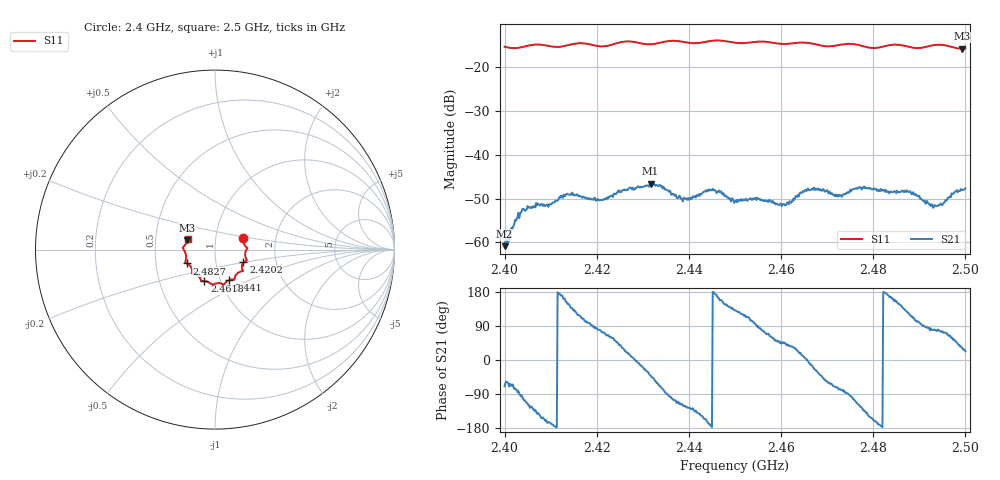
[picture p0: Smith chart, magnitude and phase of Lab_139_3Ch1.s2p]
# Hz S RI R 50
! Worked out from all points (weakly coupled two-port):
!   601 points, 2.4 GHz to 2.5 GHz, reference 50 ohm
!   highest |S21| = -46.58 dB at 2.4317 GHz (marker M1); lowest = -60.9 dB at 2.4 GHz (marker M2)
!   lowest |S11| = -15.8 dB at 2.4993 GHz (marker M3), VSWR 1.39, Z = 36.5 + j3.83 ohm
!   |S11| at or under -10 dB: start of sweep to end of sweep
!   S12 and S22 are empty: the file has one direction only
!   S11 on the Smith chart (normalised r, x): 2.4 GHz: 1.36, +0.18; 2.4202 GHz: 1.36, -0.20; 2.441 GHz: 1.10, -0.39; 2.4618 GHz: 0.84, -0.30; 2.4827 GHz: 0.72, -0.12; 2.5 GHz: 0.73, +0.09
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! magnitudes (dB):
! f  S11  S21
! 2.4 GHz  -15.3  -60.9
! 2.404 GHz  -15.4  -52.4
! 2.4097 GHz  -15.2  -51.3
! 2.4133 GHz  -15.1  -49.0
! 2.4167 GHz  -14.5  -49.6
! 2.4202 GHz  -15.2  -50.3
! 2.4317 GHz  -14.8  -46.6
! 2.4333 GHz  -14.5  -47.2
! 2.4382 GHz  -14.1  -50.0
! 2.441 GHz  -14.6  -49.8
! 2.4452 GHz  -14.0  -47.8
! 2.45 GHz  -14.4  -50.7
! 2.4618 GHz  -14.6  -50.6
! 2.4667 GHz  -14.6  -47.8
! 2.4727 GHz  -14.9  -49.4
! 2.4768 GHz  -15.0  -47.6
! 2.4827 GHz  -15.2  -48.0
! 2.4833 GHz  -15.0  -48.6
! 2.4877 GHz  -15.4  -48.5
! 2.4935 GHz  -14.9  -51.6
! 2.4993 GHz  -15.8  -48.0
! 2.5 GHz  -15.7  -47.7
